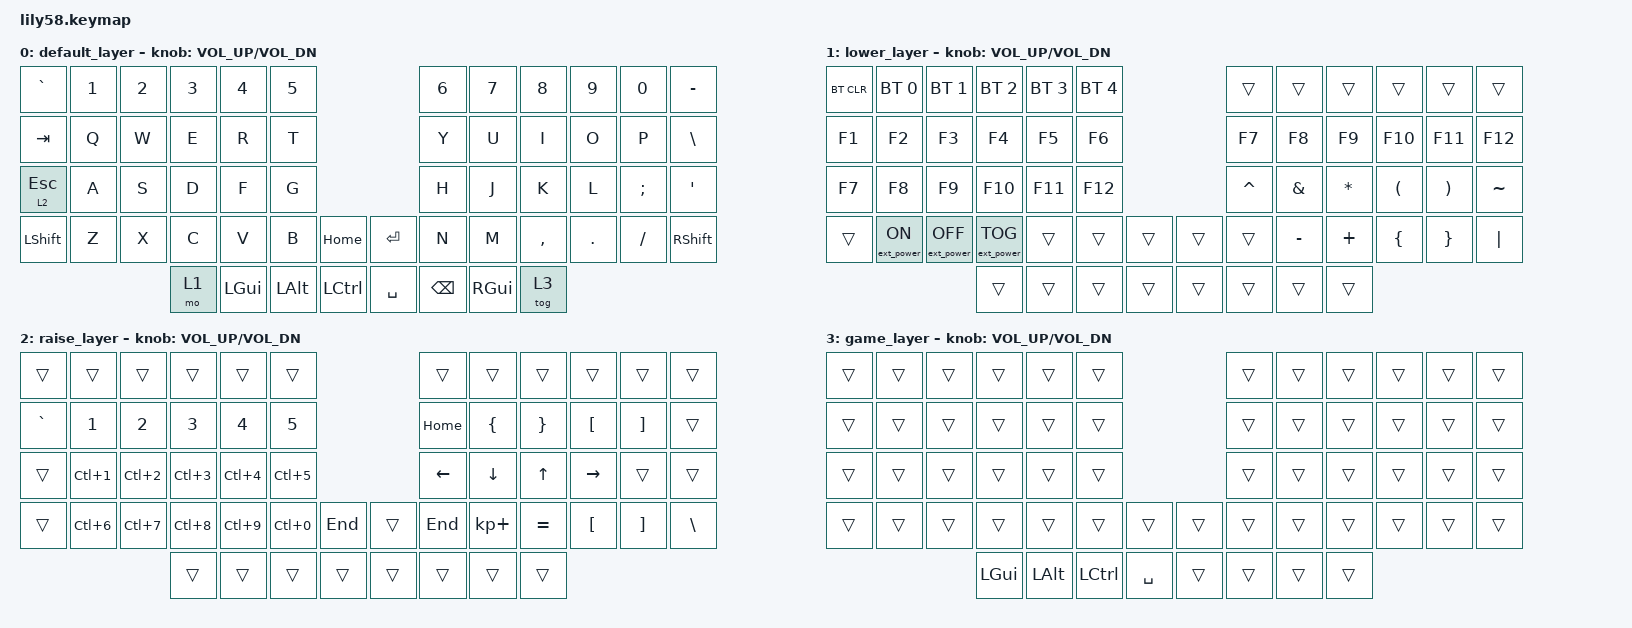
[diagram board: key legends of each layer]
/*
 * Copyright (c) 2020 The ZMK Contributors
 *
 * SPDX-License-Identifier: MIT
 *
 * setup:
 *   west init -l app/
 *   west update
 *   cd app/
 *
 * buid:
 *   west build -b nice_nano_v2 -p -d build/right -- -DSHIELD="lily58_right nice_view_adapter nice_view"
 *   west build -b nice_nano_v2 -p -d build/left -- -DSHIELD="lily58_left nice_view_adapter nice_view"
 *
 * flash:
 * - double tap reset button
 * - copy build/<side>/zephyr/zmk.uf2 to the usb device
 */

#include <behaviors.dtsi>
#include <dt-bindings/zmk/keys.h>
#include <dt-bindings/zmk/bt.h>
#include <dt-bindings/zmk/ext_power.h>

/ {
    keymap {
        compatible = "zmk,keymap";

        default_layer {
// ------------------------------------------------------------------------------------------------------------
// |  ESC  |  1  |  2  |  3   |  4   |  5   |                   |  6   |  7    |  8    |  9   |   0   |   `   |
// |  TAB  |  Q  |  W  |  E   |  R   |  T   |                   |  Y   |  U    |  I    |  O   |   P   |   -   |
// |  CTRL |  A  |  S  |  D   |  F   |  G   |                   |  H   |  J    |  K    |  L   |   ;   |   '   |
// | SHIFT |  Z  |  X  |  C   |  V   |  B   |   "["  |  |  "]"  |  N   |  M    |  ,    |  .   |   /   | SHIFT |
//                     | ALT  | GUI  | LOWER|  SPACE |  | ENTER | RAISE| BSPC  | GUI   |
            bindings = <
&kp GRAVE       &kp N1 &kp N2 &kp N3   &kp N4   &kp N5                        &kp N6   &kp N7   &kp N8    &kp N9  &kp N0   &kp MINUS
&kp TAB         &kp Q  &kp W  &kp E    &kp R    &kp T                         &kp Y    &kp U    &kp I     &kp O   &kp P    &kp BSLH
&lt 2 ESC       &kp A  &kp S  &kp D    &kp F    &kp G                         &kp H    &kp J    &kp K     &kp L   &kp SEMI &kp SQT
&kp LSHFT       &kp Z  &kp X  &kp C    &kp V    &kp B    &kp HOME   &kp RET   &kp N    &kp M    &kp COMMA &kp DOT &kp FSLH &kp RSHFT
                              &mo 1    &kp LGUI &kp LALT &kp LCTL   &kp SPACE &kp BSPC &kp RGUI &tog 3
            >;

            sensor-bindings = <&inc_dec_kp C_VOL_UP C_VOL_DN>;
        };

        lower_layer {
// ------------------------------------------------------------------------------------------------------------
// | BTCLR | BT1 | BT2 |  BT3 |  BT4 |  BT5 |                   |      |       |       |      |       |       |
// |  F1   |  F2 |  F3 |  F4  |  F5  |  F6  |                   |  F7  |  F8   |  F9   |  F10 |  F11  |  F12  |
// |   `   |  !  |  @  |  #   |  $   |  %   |                   |  ^   |  &    |  *    |  (   |   )   |   ~   |
// |       |     |     |      |      |      |        |  |       |      |  _    |  +    |  {   |   }   |  "|"  |
//                     |      |      |      |        |  |       |      |       |       |
            bindings = <
&bt BT_CLR &bt BT_SEL 0     &bt BT_SEL 1      &bt BT_SEL 2      &bt BT_SEL 3 &bt BT_SEL 4                 &trans    &trans    &trans    &trans    &trans    &trans
&kp F1     &kp F2           &kp F3            &kp F4            &kp F5       &kp F6                       &kp F7    &kp F8    &kp F9    &kp F10   &kp F11   &kp F12
&kp F7     &kp F8           &kp F9            &kp F10           &kp F11      &kp F12                      &kp CARET &kp AMPS  &kp ASTRK &kp LPAR  &kp RPAR  &kp TILDE
&trans     &ext_power EP_ON &ext_power EP_OFF &ext_power EP_TOG &trans       &trans    &trans   &trans    &trans    &kp MINUS &kp PLUS  &kp LBRC  &kp RBRC  &kp PIPE
                                              &trans            &trans       &trans    &trans   &trans    &trans    &trans    &trans
            >;

            sensor-bindings = <&inc_dec_kp C_VOL_UP C_VOL_DN>;
        };

        raise_layer {
// ------------------------------------------------------------------------------------------------------------
// |       |     |     |      |      |      |                   |      |       |       |      |       |       |
// |   `   |  1  |  2  |  3   |  4   |  5   |                   |  6   |   7   |   8   |  9   |   0   |       |
// |   F1  |  F2 |  F3 |  F4  |  F5  |  F6  |                   |      |   <-  |   v   |  ^   |  ->   |       |
// |   F7  |  F8 |  F9 |  F10 |  F11 |  F12 |        |  |       |  +   |   -   |   =   |  [   |   ]   |   \   |
//                     |      |      |      |        |  |       |      |       |       |
            bindings = <
&trans     &trans     &trans     &trans     &trans     &trans                            &trans    &trans      &trans    &trans   &trans    &trans
&kp GRAVE  &kp N1     &kp N2     &kp N3     &kp N4     &kp N5                            &kp HOME  &kp LBRC    &kp RBRC  &kp LBKT &kp RBKT  &trans
&trans     &kp LC(N1) &kp LC(N2) &kp LC(N3) &kp LC(N4) &kp LC(N5)                        &kp LEFT  &kp DOWN    &kp UP    &kp RIGHT &trans   &trans
&trans     &kp LC(N6) &kp LC(N7) &kp LC(N8) &kp LC(N9) &kp LC(N0) &kp END     &trans    &kp END     &kp KP_PLUS &kp EQUAL &kp LBKT &kp RBKT &kp BSLH
                             &trans  &trans  &trans    &trans      &trans      &trans    &trans      &trans
            >;

            sensor-bindings = <&inc_dec_kp C_VOL_UP C_VOL_DN>;
        };

        game_layer {
            bindings = <
&trans     &trans     &trans     &trans     &trans     &trans                             &trans    &trans      &trans    &trans   &trans    &trans
&trans     &trans     &trans     &trans     &trans     &trans                             &trans    &trans      &trans    &trans   &trans    &trans
&trans     &trans     &trans     &trans     &trans     &trans                             &trans    &trans      &trans    &trans   &trans    &trans
&trans     &trans     &trans     &trans     &trans     &trans   &trans            &trans  &trans    &trans      &trans    &trans   &trans    &trans
                                 &kp LGUI   &kp LALT   &kp LCTL &kp SPACE         &trans  &trans    &trans      &trans
            >;

            sensor-bindings = <&inc_dec_kp C_VOL_UP C_VOL_DN>;
        };
    };
};
